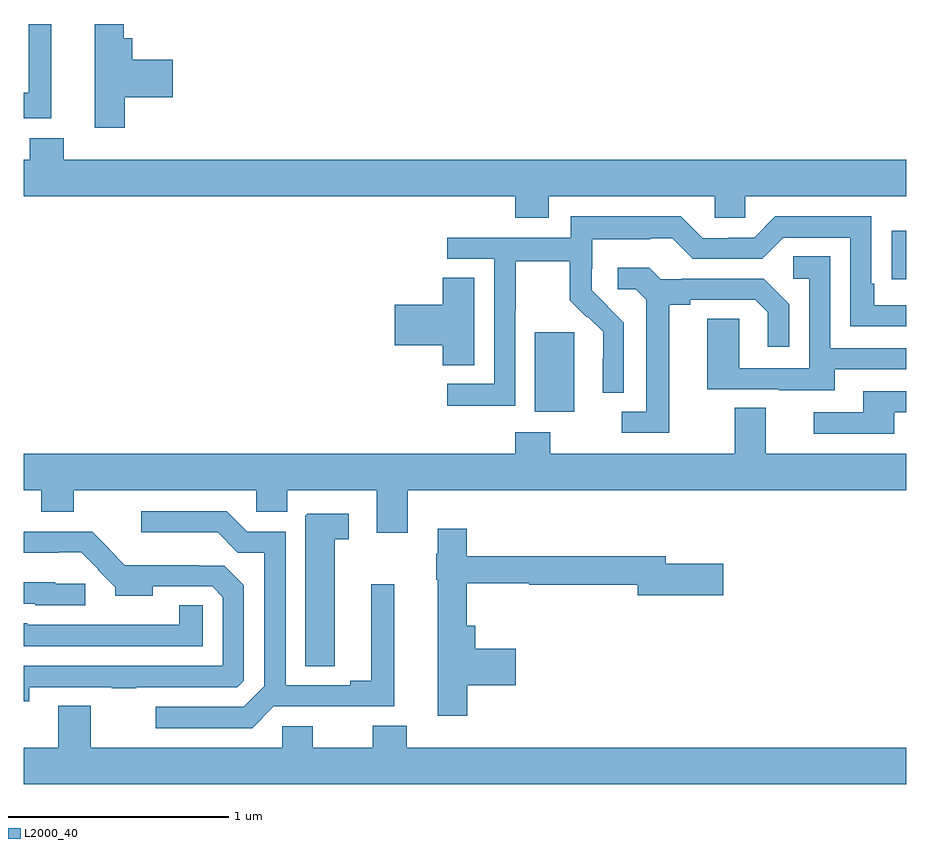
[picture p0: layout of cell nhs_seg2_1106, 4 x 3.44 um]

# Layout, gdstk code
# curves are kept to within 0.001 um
import gdstk
lib = gdstk.Library(unit=1e-6, precision=1e-09)
def R(c, l, rs):  # rectangles x0, y0, x1, y1
    for r in rs: c.add(gdstk.rectangle(r[:2], r[2:], *l))
def P(c, l, *ps):  # polygons
    for p in ps: c.add(gdstk.Polygon(p, *l))
L2000_40 = (2000, 40)

nhs_seg2_1106 = lib.new_cell('nhs_seg2_1106')
R(nhs_seg2_1106, L2000_40, [(171.317,596.042,171.496,596.403), (172.933,596.644,173,596.863)])
P(nhs_seg2_1106, L2000_40, [(169.126,597.8),(169.022,597.8),(169.022,597.488),(169,597.488),(169,597.372),(169.126,597.372)],
  [(169.457,597.467),(169.675,597.467),(169.675,597.638),(169.493,597.638),(169.493,597.736),(169.454,597.736),(169.454,597.8),(169.322,597.8),(169.322,597.33),(169.457,597.33)],
  [(171.379,597.02),(172.131,597.02),(172.131,596.922),(172.269,596.922),(172.269,597.02),(173,597.02),(173,597.184),(169.181,597.184),(169.181,597.283),(169.028,597.283),(169.028,597.184),(169,597.184),(169,597.02),(171.227,597.02),(171.227,596.921),(171.379,596.921)],
  [(171.228,596.5),(171.231,596.5),(171.231,596.724),(171.475,596.724),(171.475,596.549),(171.552,596.472),(171.555,596.475),(171.626,596.405),(171.626,596.282),(171.624,596.282),(171.624,596.128),(171.72,596.128),(171.72,596.446),(171.574,596.594),(171.574,596.691),(171.576,596.691),(171.576,596.825),(171.839,596.825),(171.839,596.829),(171.939,596.829),(172.032,596.736),(172.347,596.736),(172.443,596.832),(172.746,596.832),(172.746,596.43),(173,596.43),(173,596.526),(172.855,596.526),(172.855,596.623),(172.842,596.623),(172.842,596.928),(172.407,596.928),(172.311,596.832),(172.193,596.832),(172.193,596.829),(172.077,596.829),(171.977,596.929),(171.48,596.929),(171.48,596.832),(170.919,596.832),(170.919,596.736),(171.132,596.736),(171.132,596.169),(170.919,596.169),(170.919,596.071),(171.228,596.071)],
  [(172.675,596.235),(173,596.235),(173,596.331),(172.656,596.331),(172.656,596.747),(172.488,596.747),(172.488,596.646),(172.56,596.646),(172.56,596.241),(172.242,596.241),(172.242,596.465),(172.097,596.465),(172.097,596.145),(172.421,596.145),(172.421,596.141),(172.675,596.141)],
  [(171.925,596.528),(172.021,596.528),(172.021,596.55),(172.316,596.55),(172.373,596.493),(172.373,596.337),(172.47,596.337),(172.47,596.53),(172.354,596.646),(171.982,596.646),(171.982,596.643),(171.888,596.643),(171.836,596.695),(171.693,596.695),(171.693,596.598),(171.774,596.598),(171.821,596.551),(171.821,596.043),(171.711,596.043),(171.711,595.947),(171.925,595.947)],
  [(171.043,596.651),(170.9,596.651),(170.9,596.528),(170.682,596.528),(170.682,596.345),(170.9,596.345),(170.9,596.254),(171.043,596.254)],
  [(172.945,596.04),(173,596.04),(173,596.136),(172.805,596.136),(172.805,596.04),(172.581,596.04),(172.581,595.944),(172.945,595.944)],
  [(170.74,595.688),(173,595.688),(173,595.852),(172.363,595.852),(172.363,596.06),(172.223,596.06),(172.223,595.852),(171.387,595.852),(171.387,595.951),(171.227,595.951),(171.227,595.852),(169,595.852),(169,595.688),(169.079,595.688),(169.079,595.589),(169.227,595.589),(169.227,595.688),(170.055,595.688),(170.055,595.59),(170.194,595.59),(170.194,595.688),(170.6,595.688),(170.6,595.494),(170.74,595.494)],
  [(170.134,594.708),(170.68,594.708),(170.68,595.261),(170.576,595.261),(170.576,594.824),(170.48,594.824),(170.48,594.804),(170.187,594.804),(170.187,595.5),(170.013,595.5),(169.92,595.593),(169.533,595.593),(169.533,595.496),(169.879,595.496),(169.97,595.405),(170.091,595.405),(170.091,594.798),(169.998,594.705),(169.599,594.705),(169.599,594.609),(170.035,594.609)],
  [(170.41,595.465),(170.473,595.465),(170.473,595.581),(170.286,595.581),(170.276,595.571),(170.276,594.889),(170.41,594.889)],
  [(171.011,594.803),(171.229,594.803),(171.229,594.969),(171.047,594.969),(171.047,595.072),(171.008,595.072),(171.008,595.266),(171.291,595.266),(171.291,595.258),(171.782,595.258),(171.782,595.211),(172.171,595.211),(172.171,595.353),(171.91,595.353),(171.91,595.387),(171.008,595.387),(171.008,595.513),(170.876,595.513),(170.876,595.4),(170.869,595.4),(170.869,595.281),(170.876,595.281),(170.876,594.666),(171.011,594.666)],
  [(169.026,594.795),(169.399,594.795),(169.399,594.79),(169.511,594.79),(169.511,594.795),(169.968,594.795),(169.998,594.825),(169.998,595.257),(169.909,595.346),(169.793,595.346),(169.793,595.348),(169.459,595.348),(169.385,595.421),(169.387,595.423),(169.311,595.5),(169,595.5),(169,595.403),(169.16,595.403),(169.16,595.406),(169.262,595.406),(169.338,595.329),(169.335,595.326),(169.414,595.248),(169.414,595.208),(169.585,595.208),(169.585,595.251),(169.854,595.251),(169.902,595.203),(169.902,594.891),(169,594.891),(169,594.732),(169.026,594.732)],
  [(169.278,595.263),(169.143,595.263),(169.143,595.27),(169,595.27),(169,595.173),(169.053,595.173),(169.053,595.167),(169.278,595.167)],
  [(169.812,595.166),(169.704,595.166),(169.704,595.078),(169.449,595.078),(169.449,595.077),(169.017,595.077),(169.017,595.084),(169,595.084),(169,594.981),(169.812,594.981)],
  [(173,594.52),(170.735,594.52),(170.735,594.619),(170.582,594.619),(170.582,594.52),(170.311,594.52),(170.311,594.618),(170.172,594.618),(170.172,594.52),(169.303,594.52),(169.303,594.71),(169.156,594.71),(169.156,594.52),(169,594.52),(169,594.356),(173,594.356)])

lib.write_gds('nhs_seg2_1106.gds')
